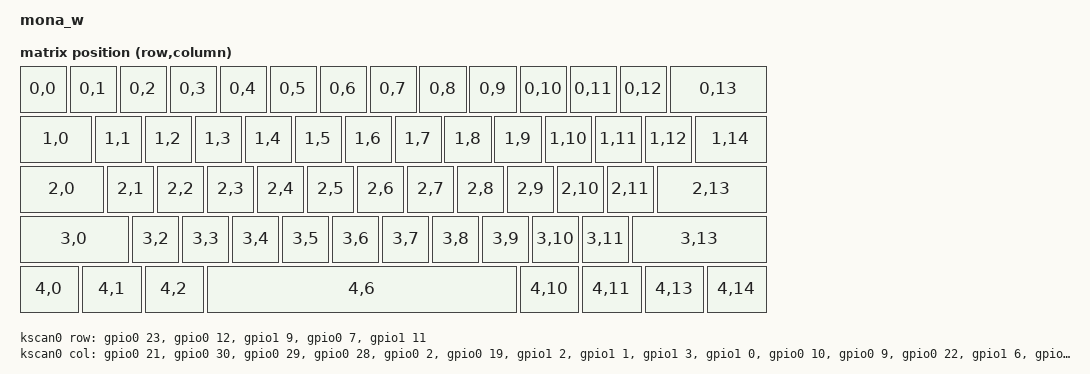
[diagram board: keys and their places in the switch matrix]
/*
 * Copyright (c) 2020 The ZMK Contributors
 *
 * SPDX-License-Identifier: MIT
 */

/dts-v1/;
#include <nordic/nrf52840_qiaa.dtsi>
#include <dt-bindings/zmk/matrix_transform.h>
#include <dt-bindings/led/led.h>
#include <physical_layouts.dtsi>

/ {
    model = "mona_w";
    compatible = "mona_w";

    chosen {
        zephyr,code-partition = &code_partition;
        zephyr,sram = &sram0;
        zephyr,flash = &flash0;
        zmk,kscan = &kscan0;
        zmk,battery = &vbatt;
        zmk,underglow = &led_strip;
        zmk,physical-layouts = &mona_w_layout;
    };

    kscan0: kscan {
        compatible = "zmk,kscan-gpio-matrix";
        label = "KSCAN";
        diode-direction = "col2row";

        debounce-press-ms = <1>;
        debounce-release-ms = <5>;

        row-gpios
            = <&gpio0 23 (GPIO_ACTIVE_HIGH | GPIO_PULL_DOWN)>
            , <&gpio0 12 (GPIO_ACTIVE_HIGH | GPIO_PULL_DOWN)>
            , <&gpio1  9 (GPIO_ACTIVE_HIGH | GPIO_PULL_DOWN)>
            , <&gpio0  7 (GPIO_ACTIVE_HIGH | GPIO_PULL_DOWN)>
            , <&gpio1 11 (GPIO_ACTIVE_HIGH | GPIO_PULL_DOWN)>
            ;
        col-gpios
            = <&gpio0 21 GPIO_ACTIVE_HIGH>
            , <&gpio0 30 GPIO_ACTIVE_HIGH>
            , <&gpio0 29 GPIO_ACTIVE_HIGH>
            , <&gpio0 28 GPIO_ACTIVE_HIGH>
            , <&gpio0  2 GPIO_ACTIVE_HIGH>
            , <&gpio0 19 GPIO_ACTIVE_HIGH>
            , <&gpio1  2 GPIO_ACTIVE_HIGH>
            , <&gpio1  1 GPIO_ACTIVE_HIGH>
            , <&gpio1  3 GPIO_ACTIVE_HIGH>
            , <&gpio1  0 GPIO_ACTIVE_HIGH>
            , <&gpio0 10 GPIO_ACTIVE_HIGH>
            , <&gpio0  9 GPIO_ACTIVE_HIGH>
            , <&gpio0 22 GPIO_ACTIVE_HIGH>
            , <&gpio1  6 GPIO_ACTIVE_HIGH>
            , <&gpio1  4 GPIO_ACTIVE_HIGH>
            ;
    };

    default_transform: keymap_transform_0 {
        compatible = "zmk,matrix-transform";
        columns = <17>;
        rows = <6>;
        map = <
                RC(0,0) RC(0,1) RC(0,2) RC(0,3) RC(0,4) RC(0,5) RC(0,6) RC(0,7) RC(0,8) RC(0,9) RC(0,10) RC(0,11) RC(0,12) RC(0,13)
                RC(1,0) RC(1,1) RC(1,2) RC(1,3) RC(1,4) RC(1,5) RC(1,6) RC(1,7) RC(1,8) RC(1,9) RC(1,10) RC(1,11) RC(1,12)          RC(1,14)
                RC(2,0) RC(2,1) RC(2,2) RC(2,3) RC(2,4) RC(2,5) RC(2,6) RC(2,7) RC(2,8) RC(2,9) RC(2,10) RC(2,11)          RC(2,13)
                RC(3,0)         RC(3,2) RC(3,3) RC(3,4) RC(3,5) RC(3,6) RC(3,7) RC(3,8) RC(3,9) RC(3,10) RC(3,11)          RC(3,13)
                RC(4,0) RC(4,1) RC(4,2)                         RC(4,6)                         RC(4,10) RC(4,11)          RC(4,13) RC(4,14)
        >;
    };

    /*
     * Physical layout for ZMK Studio.
     * Coordinates are in centiunits (100 = 1u = 19.05mm).
     * Key order MUST match the RC() order in default_transform above.
     *
     * Row 0: 14 keys — ESC, 1-0, -, =, Backspace(2u)
     * Row 1: 14 keys — Tab(1.5u), Q-], \(1.5u)
     * Row 2: 13 keys — CapsLock(1.75u), A-', Enter(2.25u)
     * Row 3: 12 keys — LShift(2.25u), Z-/, RShift(2.75u)
     * Row 4:  8 keys — LCtrl(1.25u), LGUI(1.25u), LAlt(1.25u),
     *                  Space(6.25u), RAlt(1.25u), RAlt(1.25u),
     *                  MO1(1.25u), RCtrl(1.25u)
     */
    mona_w_layout: mona_w_layout {
        compatible = "zmk,physical-layout";
        display-name = "Default";
        transform = <&default_transform>;

        keys
        //                     w    h     x     y  rot   rx   ry
        /* Row 0 */
        = <&key_physical_attrs 100 100     0     0    0    0    0>  /* ESC */
        , <&key_physical_attrs 100 100   100     0    0    0    0>  /* 1 */
        , <&key_physical_attrs 100 100   200     0    0    0    0>  /* 2 */
        , <&key_physical_attrs 100 100   300     0    0    0    0>  /* 3 */
        , <&key_physical_attrs 100 100   400     0    0    0    0>  /* 4 */
        , <&key_physical_attrs 100 100   500     0    0    0    0>  /* 5 */
        , <&key_physical_attrs 100 100   600     0    0    0    0>  /* 6 */
        , <&key_physical_attrs 100 100   700     0    0    0    0>  /* 7 */
        , <&key_physical_attrs 100 100   800     0    0    0    0>  /* 8 */
        , <&key_physical_attrs 100 100   900     0    0    0    0>  /* 9 */
        , <&key_physical_attrs 100 100  1000     0    0    0    0>  /* 0 */
        , <&key_physical_attrs 100 100  1100     0    0    0    0>  /* - */
        , <&key_physical_attrs 100 100  1200     0    0    0    0>  /* = */
        , <&key_physical_attrs 200 100  1300     0    0    0    0>  /* Backspace (2u) */
        /* Row 1 */
        , <&key_physical_attrs 150 100     0   100    0    0    0>  /* Tab (1.5u) */
        , <&key_physical_attrs 100 100   150   100    0    0    0>  /* Q */
        , <&key_physical_attrs 100 100   250   100    0    0    0>  /* W */
        , <&key_physical_attrs 100 100   350   100    0    0    0>  /* E */
        , <&key_physical_attrs 100 100   450   100    0    0    0>  /* R */
        , <&key_physical_attrs 100 100   550   100    0    0    0>  /* T */
        , <&key_physical_attrs 100 100   650   100    0    0    0>  /* Y */
        , <&key_physical_attrs 100 100   750   100    0    0    0>  /* U */
        , <&key_physical_attrs 100 100   850   100    0    0    0>  /* I */
        , <&key_physical_attrs 100 100   950   100    0    0    0>  /* O */
        , <&key_physical_attrs 100 100  1050   100    0    0    0>  /* P */
        , <&key_physical_attrs 100 100  1150   100    0    0    0>  /* [ */
        , <&key_physical_attrs 100 100  1250   100    0    0    0>  /* ] */
        , <&key_physical_attrs 150 100  1350   100    0    0    0>  /* \ (1.5u) */
        /* Row 2 */
        , <&key_physical_attrs 175 100     0   200    0    0    0>  /* Caps Lock (1.75u) */
        , <&key_physical_attrs 100 100   175   200    0    0    0>  /* A */
        , <&key_physical_attrs 100 100   275   200    0    0    0>  /* S */
        , <&key_physical_attrs 100 100   375   200    0    0    0>  /* D */
        , <&key_physical_attrs 100 100   475   200    0    0    0>  /* F */
        , <&key_physical_attrs 100 100   575   200    0    0    0>  /* G */
        , <&key_physical_attrs 100 100   675   200    0    0    0>  /* H */
        , <&key_physical_attrs 100 100   775   200    0    0    0>  /* J */
        , <&key_physical_attrs 100 100   875   200    0    0    0>  /* K */
        , <&key_physical_attrs 100 100   975   200    0    0    0>  /* L */
        , <&key_physical_attrs 100 100  1075   200    0    0    0>  /* ; */
        , <&key_physical_attrs 100 100  1175   200    0    0    0>  /* ' */
        , <&key_physical_attrs 225 100  1275   200    0    0    0>  /* Enter (2.25u) */
        /* Row 3 */
        , <&key_physical_attrs 225 100     0   300    0    0    0>  /* L-Shift (2.25u) */
        , <&key_physical_attrs 100 100   225   300    0    0    0>  /* Z */
        , <&key_physical_attrs 100 100   325   300    0    0    0>  /* X */
        , <&key_physical_attrs 100 100   425   300    0    0    0>  /* C */
        , <&key_physical_attrs 100 100   525   300    0    0    0>  /* V */
        , <&key_physical_attrs 100 100   625   300    0    0    0>  /* B */
        , <&key_physical_attrs 100 100   725   300    0    0    0>  /* N */
        , <&key_physical_attrs 100 100   825   300    0    0    0>  /* M */
        , <&key_physical_attrs 100 100   925   300    0    0    0>  /* , */
        , <&key_physical_attrs 100 100  1025   300    0    0    0>  /* . */
        , <&key_physical_attrs 100 100  1125   300    0    0    0>  /* / */
        , <&key_physical_attrs 275 100  1225   300    0    0    0>  /* R-Shift (2.75u) */
        /* Row 4 */
        , <&key_physical_attrs 125 100     0   400    0    0    0>  /* L-Ctrl (1.25u) */
        , <&key_physical_attrs 125 100   125   400    0    0    0>  /* L-GUI (1.25u) */
        , <&key_physical_attrs 125 100   250   400    0    0    0>  /* L-Alt (1.25u) */
        , <&key_physical_attrs 625 100   375   400    0    0    0>  /* Space (6.25u) */
        , <&key_physical_attrs 125 100  1000   400    0    0    0>  /* R-Alt (1.25u) */
        , <&key_physical_attrs 125 100  1125   400    0    0    0>  /* R-Alt (1.25u) */
        , <&key_physical_attrs 125 100  1250   400    0    0    0>  /* MO 1 (1.25u) */
        , <&key_physical_attrs 125 100  1375   400    0    0    0>  /* R-Ctrl (1.25u) */
        ;
    };

    ext-power {
        compatible = "zmk,ext-power-generic";
        label = "EXT_POWER";
        control-gpios = <&gpio0  4 GPIO_ACTIVE_HIGH>;
    };

    vbatt: vbatt {
        compatible = "zmk,battery-voltage-divider";
        label = "BATTERY";
        io-channels = <&adc 7>;
        output-ohms = <2000000>;
        full-ohms = <(2000000 + 806000)>;
    };
};

&adc {
    status = "okay";
};

&gpio0 {
    status = "okay";
};

&gpio1 {
    status = "okay";
};

&usbd {
    status = "okay";
};

&pinctrl {
    spi1_default: spi1_default {
        group1 {
            psels = <NRF_PSEL(SPIM_MOSI, 0, 5)>;
        };
    };

    spi1_sleep: spi1_sleep {
        group1 {
            psels = <NRF_PSEL(SPIM_MOSI, 0, 5)>;
            low-power-enable;
        };
    };
};

&spi1 {
    compatible = "nordic,nrf-spim";
    status = "okay";
    pinctrl-0 = <&spi1_default>;
    pinctrl-1 = <&spi1_sleep>;
    pinctrl-names = "default", "sleep";

    led_strip: ws2812@0 {
        compatible = "worldsemi,ws2812-spi";
        label = "WS2812";

        /* SPI */
        reg = <0>;
        spi-max-frequency = <4000000>;

        /* WS2812 */
        chain-length = <16>;
        spi-one-frame = <0x70>;
        spi-zero-frame = <0x40>;
        color-mapping = <LED_COLOR_ID_GREEN
                         LED_COLOR_ID_RED
                         LED_COLOR_ID_BLUE>;
    };
};

&flash0 {
    partitions {
        compatible = "fixed-partitions";
        #address-cells = <1>;
        #size-cells = <1>;

        sd_partition: partition@0 {
            label = "softdevice";
            reg = <0x00000000 0x00026000>;
        };
        code_partition: partition@26000 {
            label = "code_partition";
            reg = <0x00026000 0x000c6000>;
        };

        storage_partition: partition@ec000 {
            label = "storage";
            reg = <0x000ec000 0x00008000>;
        };

        boot_partition: partition@f4000 {
            label = "adafruit_boot";
            reg = <0x000f4000 0x0000c000>;
        };
    };
};
